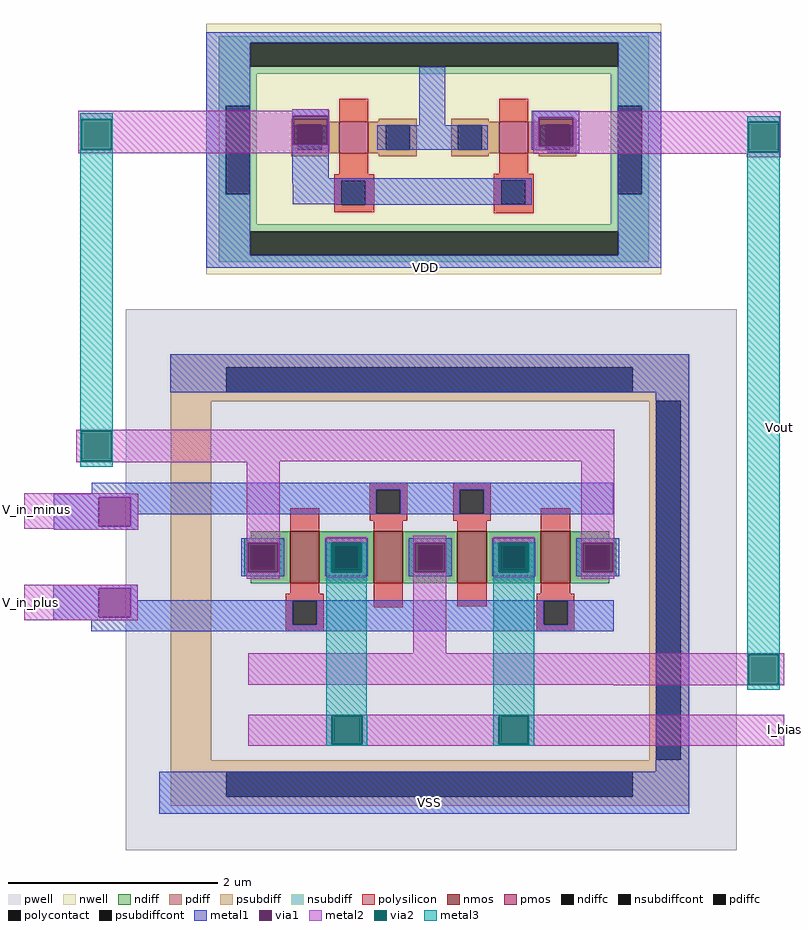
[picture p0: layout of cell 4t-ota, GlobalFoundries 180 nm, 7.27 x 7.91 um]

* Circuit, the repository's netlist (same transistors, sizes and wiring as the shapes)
* NGSPICE file created from 4t-ota_layout.ext - technology: gf180mcuD

.subckt pfet_03v3_RFU83T a_181_n6# a_n125_n6# a_33_n12# w_n435_n238# a_n190_n119#
+ a_n273_n12#
X0 a_181_n6# a_n190_n119# a_33_n12# w_n435_n238# pfet_03v3 ad=0.1596p pd=1.64u as=0.1596p ps=1.64u w=0.3u l=0.28u
X1 a_n125_n6# a_n190_n119# a_n273_n12# w_n435_n238# pfet_03v3 ad=0.1596p pd=1.64u as=0.1596p ps=1.64u w=0.3u l=0.28u
.ends

.subckt nfet_03v3_AZGML9 VSS a_n52_n50# a_n276_70# a_n212_n50# a_n356_n36# a_n116_n142#
X0 a_n212_n50# a_n116_n142# a_n52_n50# VSS nfet_03v3 ad=0.13p pd=1.02u as=0.13p ps=1.02u w=0.5u l=0.28u
X1 a_n356_n36# a_n276_70# a_n212_n50# VSS nfet_03v3 ad=0.2109p pd=1.88u as=0.13p ps=1.02u w=0.5u l=0.28u
X2 a_n52_n50# a_n116_n142# a_n212_n50# VSS nfet_03v3 ad=0.13p pd=1.02u as=0.13p ps=1.02u w=0.5u l=0.28u
X3 a_n212_n50# a_n276_70# a_n356_n36# VSS nfet_03v3 ad=0.13p pd=1.02u as=0.2109p ps=1.88u w=0.5u l=0.28u
.ends

.subckt x4t-ota_layout I_bias V_in_minus V_in_plus VDD Vout VSS
Xpfet_03v3_RFU83T_0 Vout VDD VDD VDD m1_1452_455# m1_1452_455# pfet_03v3_RFU83T
Xnfet_03v3_AZGML9_0 VSS Vout V_in_plus I_bias m1_1452_455# V_in_minus nfet_03v3_AZGML9
.ends

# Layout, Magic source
magic
tech gf180mcuD
magscale 1 10
<< nsubdiffcont >>
rect 1372 678 2076 724
rect 1372 318 2076 364
<< metal1 >>
rect 1288 724 2158 744
rect 1288 318 1372 724
rect 2076 678 2158 724
rect 1452 585 1522 597
rect 1452 529 1454 585
rect 1520 529 1522 585
rect 1695 566 1745 678
rect 1910 582 2001 594
rect 1452 465 1522 529
rect 1615 520 1821 566
rect 1910 526 1924 582
rect 1990 526 2001 582
rect 1910 520 2001 526
rect 1920 519 2001 520
rect 1941 514 2001 519
rect 1452 455 1909 465
rect 1453 415 1909 455
rect 2075 364 2158 678
rect 2076 318 2158 364
rect 1288 294 2158 318
rect 1219 56 2212 128
rect 2148 -670 2212 56
rect 1198 -751 2212 -670
<< via1 >>
rect 1454 529 1520 585
rect 1924 526 1990 582
<< metal2 >>
rect 1452 594 1522 597
rect 1043 585 1523 594
rect 1043 578 1454 585
rect 1043 520 1049 578
rect 1107 529 1454 578
rect 1520 529 1523 585
rect 1107 520 1523 529
rect 1043 513 1523 520
rect 1913 582 2387 593
rect 1913 526 1924 582
rect 1990 573 2387 582
rect 1990 526 2325 573
rect 1913 515 2325 526
rect 2383 515 2387 573
rect 1913 512 2387 515
rect 2322 505 2387 512
rect 1039 -18 1365 -16
rect 1039 -76 1049 -18
rect 1107 -76 1365 -18
rect 1039 -78 1365 -76
rect 939 -206 1143 -138
rect 939 -381 1157 -313
rect 2066 -446 2393 -444
rect 2066 -504 2325 -446
rect 2383 -504 2393 -446
rect 2066 -505 2393 -504
rect 1984 -621 2393 -561
<< via2 >>
rect 1049 520 1107 578
rect 2325 515 2383 573
rect 1049 -76 1107 -18
rect 2325 -504 2383 -446
<< metal3 >>
rect 1047 578 1109 589
rect 1047 520 1049 578
rect 1107 520 1109 578
rect 1047 -18 1109 520
rect 1047 -76 1049 -18
rect 1107 -76 1109 -18
rect 1047 -87 1109 -76
rect 2323 573 2385 584
rect 2323 515 2325 573
rect 2383 515 2385 573
rect 2323 -446 2385 515
rect 2323 -504 2325 -446
rect 2383 -504 2385 -446
rect 2323 -514 2385 -504
use nfet_03v3_AZGML9  nfet_03v3_AZGML9_0
transform 1 0 1716 0 -1 -260
box -721 -474 587 561
use pfet_03v3_RFU83T  pfet_03v3_RFU83T_0
transform 1 0 1723 0 1 519
box -435 -238 435 242
<< labels >>
rlabel metal2 2393 -589 2393 -589 7 I_bias
port 0 w
rlabel metal1 1715 -729 1715 -729 1 VSS
port 5 n
rlabel metal2 940 -346 940 -346 3 V_in_plus
port 2 e
rlabel metal3 2385 -11 2385 -11 1 Vout
port 4 n
rlabel metal2 940 -169 940 -169 3 V_in_minus
port 1 e
rlabel metal1 1708 294 1708 294 1 VDD
port 3 n
<< end >>

# cell nfet_03v3_AZGML9: kit device nfet_03v3, w 0.5 l 0.280 m 1 nf 4 diffcov 60 polycov 100 guard 1 glc 1 grc 1 gtc 0 gbc 0 tbcov 100 rlcov 100 topc 1 botc 1 poverlap 0 doverlap 1 lmin 0.28 wmin 0.22 class mosfet full_metal 0 compatible {nfet_03v3 nfet_06v0 nfet_06v0_nvt}

# cell pfet_03v3_RFU83T: kit device pfet_03v3, w 0.3 l 0.280 m 1 nf 2 diffcov 100 polycov 100 guard 1 glc 1 grc 1 gtc 0 gbc 0 tbcov 100 rlcov 100 topc 0 botc 1 poverlap 0 doverlap 0 lmin 0.28 wmin 0.22 class mosfet full_metal 1 compatible {pfet_03v3 pfet_06v0}
